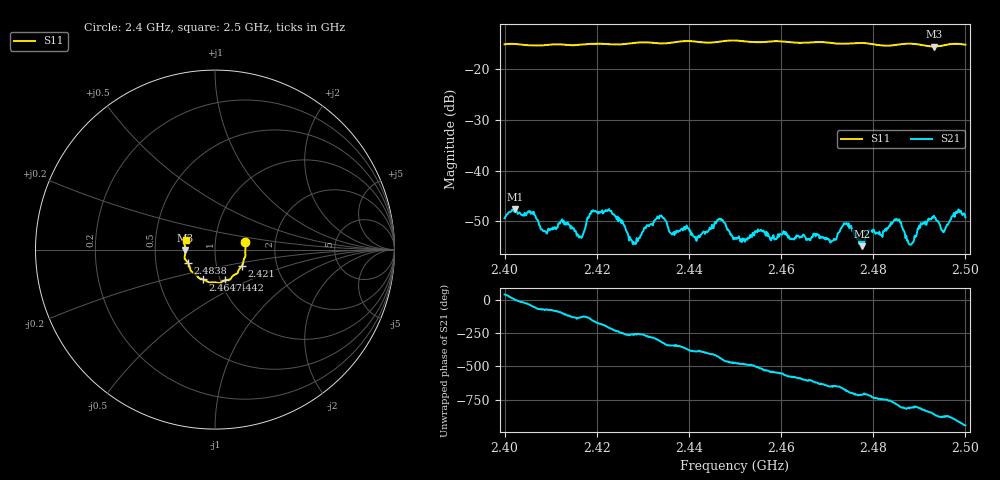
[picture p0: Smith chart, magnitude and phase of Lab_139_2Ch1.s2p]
# Hz S RI R 50
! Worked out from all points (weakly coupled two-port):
!   601 points, 2.4 GHz to 2.5 GHz, reference 50 ohm
!   highest |S21| = -47.54 dB at 2.4023 GHz (marker M1); lowest = -54.9 dB at 2.4775 GHz (marker M2)
!   lowest |S11| = -15.7 dB at 2.4932 GHz (marker M3), VSWR 1.40, Z = 35.8 - j0.109 ohm
!   |S11| at or under -10 dB: start of sweep to end of sweep
!   S12 and S22 are empty: the file has one direction only
!   S11 on the Smith chart (normalised r, x): 2.4 GHz: 1.40, +0.12; 2.421 GHz: 1.33, -0.24; 2.4442 GHz: 1.05, -0.37; 2.4647 GHz: 0.83, -0.28; 2.4838 GHz: 0.73, -0.11; 2.5 GHz: 0.72, +0.08
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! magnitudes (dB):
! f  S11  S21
! 2.4 GHz  -15.2  -49.4
! 2.4023 GHz  -15.2  -47.5
! 2.4167 GHz  -15.3  -53.2
! 2.421 GHz  -15.1  -48.1
! 2.428 GHz  -15.0  -54.0
! 2.4333 GHz  -15.0  -49.3
! 2.4363 GHz  -14.9  -52.5
! 2.4442 GHz  -14.9  -51.9
! 2.4468 GHz  -14.7  -49.7
! 2.45 GHz  -14.5  -53.4
! 2.4647 GHz  -14.9  -52.8
! 2.4667 GHz  -14.8  -53.1
! 2.4712 GHz  -15.0  -53.8
! 2.4742 GHz  -15.1  -50.3
! 2.4775 GHz  -14.9  -54.9
! 2.4833 GHz  -15.5  -51.2
! 2.4838 GHz  -15.5  -50.2
! 2.4855 GHz  -15.3  -49.6
! 2.4882 GHz  -15.1  -54.6
! 2.4932 GHz  -15.7  -48.9
! 2.4952 GHz  -15.5  -52.1
! 2.5 GHz  -15.3  -49.2
